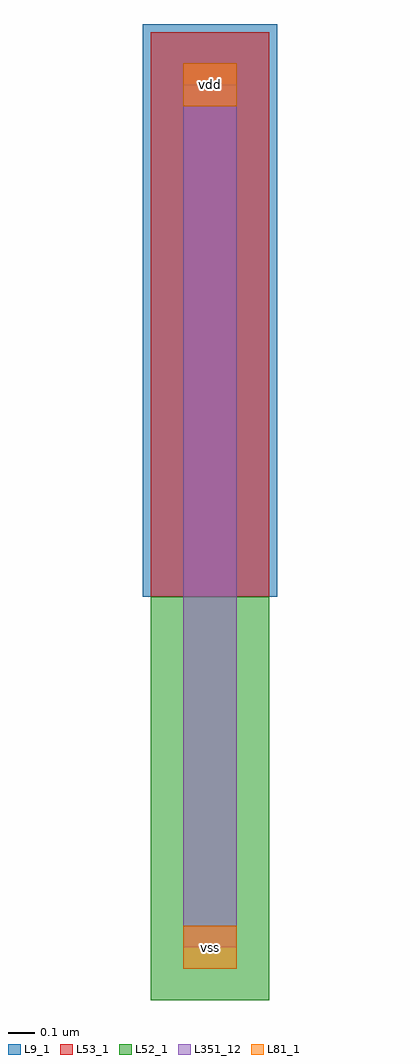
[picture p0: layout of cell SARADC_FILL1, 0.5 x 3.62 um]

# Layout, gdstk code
import gdstk
lib = gdstk.Library(unit=1e-6, precision=1e-09)
def R(c, l, rs):  # rectangles x0, y0, x1, y1
    for r in rs: c.add(gdstk.rectangle(r[:2], r[2:], *l))
L9_1 = (9, 1)
L52_1 = (52, 1)
L53_1 = (53, 1)
L81_1 = (81, 1)
L351_12 = (351, 12)

saradc_fill1 = lib.new_cell('SARADC_FILL1')
R(saradc_fill1, L9_1, [(-0.15,1.3,0.35,3.425)])
R(saradc_fill1, L52_1, [(-0.12,-0.195,0.32,1.3)])
R(saradc_fill1, L53_1, [(-0.12,1.3,0.32,3.395)])
R(saradc_fill1, L81_1, [(0,-0.08,0.2,0.08), (0,3.12,0.2,3.28)])
R(saradc_fill1, L351_12, [(0,0,0.2,3.2)])
saradc_fill1.add(gdstk.Label('vss', (0.1,0), layer=81, texttype=6))
saradc_fill1.add(gdstk.Label('vdd', (0.1,3.2), layer=81, texttype=6))

lib.write_gds('SARADC_FILL1.gds')
